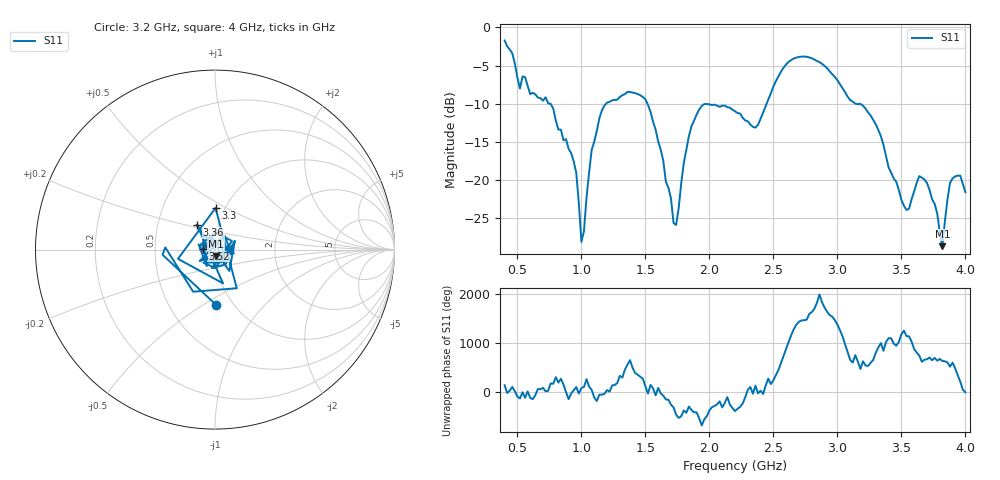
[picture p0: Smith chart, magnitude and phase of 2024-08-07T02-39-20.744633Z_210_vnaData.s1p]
!Created with skrf (http://scikit-rf.org).
# Hz S RI R 50.0
!freq ReS11 ImS11
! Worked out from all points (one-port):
!   181 points, 400 MHz to 4 GHz, reference 50 ohm
!   lowest |S11| = -28.7 dB at 3.82 GHz (marker M1), VSWR 1.08, Z = 50.4 - j3.68 ohm
!   |S11| at or under -10 dB: 756.5 MHz to 1.192 GHz (435.8 MHz wide, 44.7 % of centre); 1.516 GHz to 2.447 GHz (930.8 MHz wide, 47 % of centre); 3.142 GHz to end of sweep
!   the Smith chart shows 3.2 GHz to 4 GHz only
!   S11 on the Smith chart (normalised r, x): 3.2 GHz: 0.84, -0.57; 3.3 GHz: 0.90, +0.44; 3.36 GHz: 0.79, +0.22; 3.52 GHz: 0.87, +0.01; 4 GHz: 1.18, +0.00
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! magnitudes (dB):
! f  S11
! 400 MHz  -1.7
! 520 MHz  -8.0
! 720 MHz  -9.2
! 860 MHz  -14.8
! 960 MHz  -19.1
! 1 GHz  -28.1
! 1.08 GHz  -16.1
! 1.14 GHz  -11.9
! 1.3 GHz  -9.1
! 1.5 GHz  -9.4
! 1.64 GHz  -17.5
! 1.72 GHz  -25.7
! 1.76 GHz  -23.7
! 1.84 GHz  -14.2
! 1.92 GHz  -10.8
! 2.2 GHz  -11.0
! 2.36 GHz  -13.1
! 2.66 GHz  -4.1
! 3.1 GHz  -9.5
! 3.2 GHz  -10.3
! 3.3 GHz  -12.7
! 3.36 GHz  -15.4
! 3.52 GHz  -23.4
! 3.56 GHz  -23.8
! 3.68 GHz  -19.9
! 3.82 GHz  -28.7
! 3.88 GHz  -20.4
! 4 GHz  -21.6
